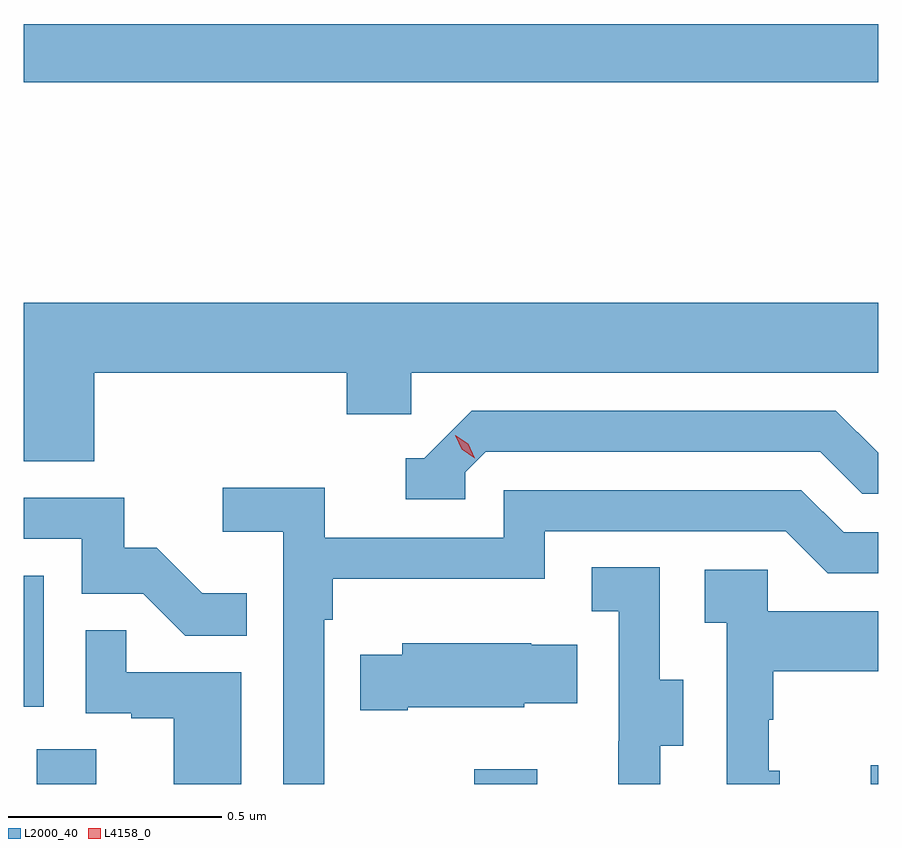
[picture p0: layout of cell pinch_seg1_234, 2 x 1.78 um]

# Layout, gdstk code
import gdstk
lib = gdstk.Library(unit=1e-6, precision=1e-09)
def R(c, l, rs):  # rectangles x0, y0, x1, y1
    for r in rs: c.add(gdstk.rectangle(r[:2], r[2:], *l))
def P(c, l, *ps):  # polygons
    for p in ps: c.add(gdstk.Polygon(p, *l))
L2000_40 = (2000, 40)
L4158_0 = (4158, 0)

pinch_seg1_234 = lib.new_cell('pinch_seg1_234')
R(pinch_seg1_234, L2000_40, [(977.321,566.753,977.461,566.834), (978.346,566.753,978.493,566.788), (979.274,566.753,979.291,566.797), (977.291,566.934,977.338,567.241), (977.291,568.396,979.291,568.532)])
P(pinch_seg1_234, L2000_40, [(977.456,567.716),(978.047,567.716),(978.047,567.618),(978.198,567.618),(978.198,567.716),(979.291,567.716),(979.291,567.88),(977.291,567.88),(977.291,567.508),(977.456,567.508)],
  [(978.324,567.483),(978.372,567.531),(979.155,567.531),(979.254,567.432),(979.291,567.432),(979.291,567.528),(979.192,567.627),(978.339,567.627),(978.228,567.516),(978.185,567.516),(978.185,567.42),(978.324,567.42)],
  [(977.994,567.137),(978.014,567.137),(978.014,567.233),(978.51,567.233),(978.51,567.345),(979.074,567.345),(979.173,567.246),(979.291,567.246),(979.291,567.342),(979.21,567.342),(979.111,567.441),(978.414,567.441),(978.414,567.33),(977.996,567.33),(977.996,567.446),(977.757,567.446),(977.757,567.344),(977.898,567.344),(977.898,566.753),(977.994,566.753)],
  [(977.813,567.199),(977.709,567.199),(977.602,567.306),(977.526,567.306),(977.526,567.423),(977.291,567.423),(977.291,567.327),(977.427,567.327),(977.427,567.198),(977.571,567.198),(977.669,567.1),(977.813,567.1)],
  [(978.781,566.842),(978.835,566.842),(978.835,566.997),(978.78,566.997),(978.78,567.26),(978.621,567.26),(978.621,567.157),(978.684,567.157),(978.684,566.853),(978.683,566.853),(978.683,566.753),(978.781,566.753)],
  [(979.06,566.784),(979.035,566.784),(979.035,566.903),(979.045,566.903),(979.045,567.017),(979.291,567.017),(979.291,567.157),(979.032,567.157),(979.032,567.255),(978.885,567.255),(978.885,567.131),(978.936,567.131),(978.936,566.753),(979.06,566.753)],
  [(977.8,567.015),(977.531,567.015),(977.531,567.113),(977.436,567.113),(977.436,566.919),(977.543,566.919),(977.543,566.907),(977.642,566.907),(977.642,566.753),(977.8,566.753)],
  [(978.19,566.933),(978.462,566.933),(978.462,566.942),(978.587,566.942),(978.587,567.079),(978.479,567.079),(978.479,567.082),(978.177,567.082),(978.177,567.055),(978.079,567.055),(978.079,566.926),(978.19,566.926)])
P(pinch_seg1_234, L4158_0, [(978.347,567.516),(978.316,567.536),(978.301,567.569),(978.301,567.569),(978.301,567.569),(978.331,567.549),(978.347,567.516),(978.347,567.516)])

lib.write_gds('pinch_seg1_234.gds')
